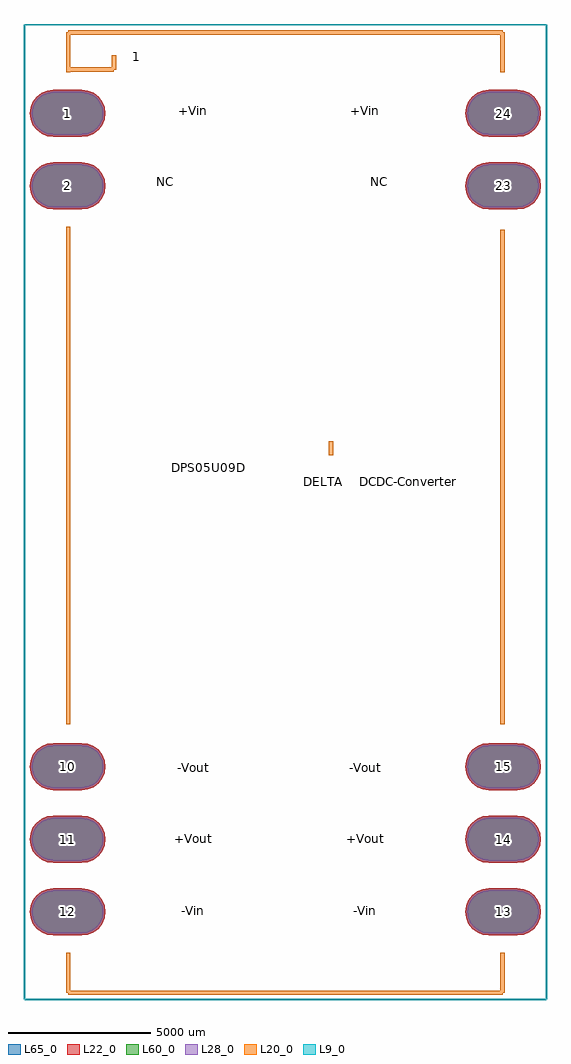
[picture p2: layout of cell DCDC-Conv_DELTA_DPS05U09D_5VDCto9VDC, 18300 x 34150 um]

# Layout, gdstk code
import gdstk
lib = gdstk.Library(unit=1e-6, precision=1e-09)
def P(c, l, *ps):  # polygons
    for p in ps: c.add(gdstk.Polygon(p, *l))
L9_0 = (9, 0)
L20_0 = (20, 0)
L22_0 = (22, 0)
L28_0 = (28, 0)
L60_0 = (60, 0)
L65_0 = (65, 0)

dcdc_conv_delta_dps05u09 = lib.new_cell('DCDC-Conv_DELTA_DPS05U09D_5VDCto9VDC')
P(dcdc_conv_delta_dps05u09, L22_0, [(14740.89,-825.57),(15739.11,-825.57),(15952.783,-797.439),(16151.895,-714.965),(16322.876,-583.766),(16454.075,-412.785),(16536.549,-213.673),(16564.68,0),(16536.549,213.673),(16454.075,412.785),(16322.876,583.766),(16151.895,714.965),(15952.783,797.439),(15739.11,825.57),(14740.89,825.57),(14527.217,797.439),(14328.105,714.965),(14157.124,583.766),(14025.925,412.785),(13943.451,213.673),(13915.32,0),(13943.451,-213.673),(14025.925,-412.785),(14157.124,-583.766),(14328.105,-714.965),(14527.217,-797.439)],
  [(14740.89,-3365.57),(15739.11,-3365.57),(15952.783,-3337.439),(16151.895,-3254.965),(16322.876,-3123.766),(16454.075,-2952.785),(16536.549,-2753.673),(16564.68,-2540),(16536.549,-2326.327),(16454.075,-2127.215),(16322.876,-1956.234),(16151.895,-1825.035),(15952.783,-1742.561),(15739.11,-1714.43),(14740.89,-1714.43),(14527.217,-1742.561),(14328.105,-1825.035),(14157.124,-1956.234),(14025.925,-2127.215),(13943.451,-2326.327),(13915.32,-2540),(13943.451,-2753.673),(14025.925,-2952.785),(14157.124,-3123.766),(14328.105,-3254.965),(14527.217,-3337.439)],
  [(14740.89,-23685.57),(15739.11,-23685.57),(15952.783,-23657.439),(16151.895,-23574.965),(16322.876,-23443.766),(16454.075,-23272.785),(16536.549,-23073.673),(16564.68,-22860),(16536.549,-22646.327),(16454.075,-22447.215),(16322.876,-22276.234),(16151.895,-22145.035),(15952.783,-22062.561),(15739.11,-22034.43),(14740.89,-22034.43),(14527.217,-22062.561),(14328.105,-22145.035),(14157.124,-22276.234),(14025.925,-22447.215),(13943.451,-22646.327),(13915.32,-22860),(13943.451,-23073.673),(14025.925,-23272.785),(14157.124,-23443.766),(14328.105,-23574.965),(14527.217,-23657.439)],
  [(14740.89,-26225.57),(15739.11,-26225.57),(15952.783,-26197.439),(16151.895,-26114.965),(16322.876,-25983.766),(16454.075,-25812.785),(16536.549,-25613.673),(16564.68,-25400),(16536.549,-25186.327),(16454.075,-24987.215),(16322.876,-24816.234),(16151.895,-24685.035),(15952.783,-24602.561),(15739.11,-24574.43),(14740.89,-24574.43),(14527.217,-24602.561),(14328.105,-24685.035),(14157.124,-24816.234),(14025.925,-24987.215),(13943.451,-25186.327),(13915.32,-25400),(13943.451,-25613.673),(14025.925,-25812.785),(14157.124,-25983.766),(14328.105,-26114.965),(14527.217,-26197.439)],
  [(14740.89,-28765.57),(15739.11,-28765.57),(15952.783,-28737.439),(16151.895,-28654.965),(16322.876,-28523.766),(16454.075,-28352.785),(16536.549,-28153.673),(16564.68,-27940),(16536.549,-27726.327),(16454.075,-27527.215),(16322.876,-27356.234),(16151.895,-27225.035),(15952.783,-27142.561),(15739.11,-27114.43),(14740.89,-27114.43),(14527.217,-27142.561),(14328.105,-27225.035),(14157.124,-27356.234),(14025.925,-27527.215),(13943.451,-27726.327),(13915.32,-27940),(13943.451,-28153.673),(14025.925,-28352.785),(14157.124,-28523.766),(14328.105,-28654.965),(14527.217,-28737.439)],
  [(-499.11,-28765.57),(499.11,-28765.57),(712.783,-28737.439),(911.895,-28654.965),(1082.876,-28523.766),(1214.075,-28352.785),(1296.549,-28153.673),(1324.68,-27940),(1296.549,-27726.327),(1214.075,-27527.215),(1082.876,-27356.234),(911.895,-27225.035),(712.783,-27142.561),(499.11,-27114.43),(-499.11,-27114.43),(-712.783,-27142.561),(-911.895,-27225.035),(-1082.876,-27356.234),(-1214.075,-27527.215),(-1296.549,-27726.327),(-1324.68,-27940),(-1296.549,-28153.673),(-1214.075,-28352.785),(-1082.876,-28523.766),(-911.895,-28654.965),(-712.783,-28737.439)],
  [(-499.11,-26225.57),(499.11,-26225.57),(712.783,-26197.439),(911.895,-26114.965),(1082.876,-25983.766),(1214.075,-25812.785),(1296.549,-25613.673),(1324.68,-25400),(1296.549,-25186.327),(1214.075,-24987.215),(1082.876,-24816.234),(911.895,-24685.035),(712.783,-24602.561),(499.11,-24574.43),(-499.11,-24574.43),(-712.783,-24602.561),(-911.895,-24685.035),(-1082.876,-24816.234),(-1214.075,-24987.215),(-1296.549,-25186.327),(-1324.68,-25400),(-1296.549,-25613.673),(-1214.075,-25812.785),(-1082.876,-25983.766),(-911.895,-26114.965),(-712.783,-26197.439)],
  [(-499.11,-23685.57),(499.11,-23685.57),(712.783,-23657.439),(911.895,-23574.965),(1082.876,-23443.766),(1214.075,-23272.785),(1296.549,-23073.673),(1324.68,-22860),(1296.549,-22646.327),(1214.075,-22447.215),(1082.876,-22276.234),(911.895,-22145.035),(712.783,-22062.561),(499.11,-22034.43),(-499.11,-22034.43),(-712.783,-22062.561),(-911.895,-22145.035),(-1082.876,-22276.234),(-1214.075,-22447.215),(-1296.549,-22646.327),(-1324.68,-22860),(-1296.549,-23073.673),(-1214.075,-23272.785),(-1082.876,-23443.766),(-911.895,-23574.965),(-712.783,-23657.439)],
  [(-499.11,-825.57),(499.11,-825.57),(712.783,-797.439),(911.895,-714.965),(1082.876,-583.766),(1214.075,-412.785),(1296.549,-213.673),(1324.68,0),(1296.549,213.673),(1214.075,412.785),(1082.876,583.766),(911.895,714.965),(712.783,797.439),(499.11,825.57),(-499.11,825.57),(-712.783,797.439),(-911.895,714.965),(-1082.876,583.766),(-1214.075,412.785),(-1296.549,213.673),(-1324.68,0),(-1296.549,-213.673),(-1214.075,-412.785),(-1082.876,-583.766),(-911.895,-714.965),(-712.783,-797.439)],
  [(-499.11,-3365.57),(499.11,-3365.57),(712.783,-3337.439),(911.895,-3254.965),(1082.876,-3123.766),(1214.075,-2952.785),(1296.549,-2753.673),(1324.68,-2540),(1296.549,-2326.327),(1214.075,-2127.215),(1082.876,-1956.234),(911.895,-1825.035),(712.783,-1742.561),(499.11,-1714.43),(-499.11,-1714.43),(-712.783,-1742.561),(-911.895,-1825.035),(-1082.876,-1956.234),(-1214.075,-2127.215),(-1296.549,-2326.327),(-1324.68,-2540),(-1296.549,-2753.673),(-1214.075,-2952.785),(-1082.876,-3123.766),(-911.895,-3254.965),(-712.783,-3337.439)])
P(dcdc_conv_delta_dps05u09, L28_0, [(14740.89,-750.57),(15739.11,-750.57),(15933.372,-724.995),(16114.395,-650.013),(16269.843,-530.733),(16389.123,-375.285),(16464.105,-194.262),(16489.68,0),(16464.105,194.262),(16389.123,375.285),(16269.843,530.733),(16114.395,650.013),(15933.372,724.995),(15739.11,750.57),(14740.89,750.57),(14546.628,724.995),(14365.605,650.013),(14210.157,530.733),(14090.877,375.285),(14015.895,194.262),(13990.32,0),(14015.895,-194.262),(14090.877,-375.285),(14210.157,-530.733),(14365.605,-650.013),(14546.628,-724.995)],
  [(14740.89,-3290.57),(15739.11,-3290.57),(15933.372,-3264.995),(16114.395,-3190.013),(16269.843,-3070.733),(16389.123,-2915.285),(16464.105,-2734.262),(16489.68,-2540),(16464.105,-2345.738),(16389.123,-2164.715),(16269.843,-2009.267),(16114.395,-1889.987),(15933.372,-1815.005),(15739.11,-1789.43),(14740.89,-1789.43),(14546.628,-1815.005),(14365.605,-1889.987),(14210.157,-2009.267),(14090.877,-2164.715),(14015.895,-2345.738),(13990.32,-2540),(14015.895,-2734.262),(14090.877,-2915.285),(14210.157,-3070.733),(14365.605,-3190.013),(14546.628,-3264.995)],
  [(14740.89,-23610.57),(15739.11,-23610.57),(15933.372,-23584.995),(16114.395,-23510.013),(16269.843,-23390.733),(16389.123,-23235.285),(16464.105,-23054.262),(16489.68,-22860),(16464.105,-22665.738),(16389.123,-22484.715),(16269.843,-22329.267),(16114.395,-22209.987),(15933.372,-22135.005),(15739.11,-22109.43),(14740.89,-22109.43),(14546.628,-22135.005),(14365.605,-22209.987),(14210.157,-22329.267),(14090.877,-22484.715),(14015.895,-22665.738),(13990.32,-22860),(14015.895,-23054.262),(14090.877,-23235.285),(14210.157,-23390.733),(14365.605,-23510.013),(14546.628,-23584.995)],
  [(14740.89,-26150.57),(15739.11,-26150.57),(15933.372,-26124.995),(16114.395,-26050.013),(16269.843,-25930.733),(16389.123,-25775.285),(16464.105,-25594.262),(16489.68,-25400),(16464.105,-25205.738),(16389.123,-25024.715),(16269.843,-24869.267),(16114.395,-24749.987),(15933.372,-24675.005),(15739.11,-24649.43),(14740.89,-24649.43),(14546.628,-24675.005),(14365.605,-24749.987),(14210.157,-24869.267),(14090.877,-25024.715),(14015.895,-25205.738),(13990.32,-25400),(14015.895,-25594.262),(14090.877,-25775.285),(14210.157,-25930.733),(14365.605,-26050.013),(14546.628,-26124.995)],
  [(14740.89,-28690.57),(15739.11,-28690.57),(15933.372,-28664.995),(16114.395,-28590.013),(16269.843,-28470.733),(16389.123,-28315.285),(16464.105,-28134.262),(16489.68,-27940),(16464.105,-27745.738),(16389.123,-27564.715),(16269.843,-27409.267),(16114.395,-27289.987),(15933.372,-27215.005),(15739.11,-27189.43),(14740.89,-27189.43),(14546.628,-27215.005),(14365.605,-27289.987),(14210.157,-27409.267),(14090.877,-27564.715),(14015.895,-27745.738),(13990.32,-27940),(14015.895,-28134.262),(14090.877,-28315.285),(14210.157,-28470.733),(14365.605,-28590.013),(14546.628,-28664.995)],
  [(-499.11,-28690.57),(499.11,-28690.57),(693.372,-28664.995),(874.395,-28590.013),(1029.843,-28470.733),(1149.123,-28315.285),(1224.105,-28134.262),(1249.68,-27940),(1224.105,-27745.738),(1149.123,-27564.715),(1029.843,-27409.267),(874.395,-27289.987),(693.372,-27215.005),(499.11,-27189.43),(-499.11,-27189.43),(-693.372,-27215.005),(-874.395,-27289.987),(-1029.843,-27409.267),(-1149.123,-27564.715),(-1224.105,-27745.738),(-1249.68,-27940),(-1224.105,-28134.262),(-1149.123,-28315.285),(-1029.843,-28470.733),(-874.395,-28590.013),(-693.372,-28664.995)],
  [(-499.11,-26150.57),(499.11,-26150.57),(693.372,-26124.995),(874.395,-26050.013),(1029.843,-25930.733),(1149.123,-25775.285),(1224.105,-25594.262),(1249.68,-25400),(1224.105,-25205.738),(1149.123,-25024.715),(1029.843,-24869.267),(874.395,-24749.987),(693.372,-24675.005),(499.11,-24649.43),(-499.11,-24649.43),(-693.372,-24675.005),(-874.395,-24749.987),(-1029.843,-24869.267),(-1149.123,-25024.715),(-1224.105,-25205.738),(-1249.68,-25400),(-1224.105,-25594.262),(-1149.123,-25775.285),(-1029.843,-25930.733),(-874.395,-26050.013),(-693.372,-26124.995)],
  [(-499.11,-23610.57),(499.11,-23610.57),(693.372,-23584.995),(874.395,-23510.013),(1029.843,-23390.733),(1149.123,-23235.285),(1224.105,-23054.262),(1249.68,-22860),(1224.105,-22665.738),(1149.123,-22484.715),(1029.843,-22329.267),(874.395,-22209.987),(693.372,-22135.005),(499.11,-22109.43),(-499.11,-22109.43),(-693.372,-22135.005),(-874.395,-22209.987),(-1029.843,-22329.267),(-1149.123,-22484.715),(-1224.105,-22665.738),(-1249.68,-22860),(-1224.105,-23054.262),(-1149.123,-23235.285),(-1029.843,-23390.733),(-874.395,-23510.013),(-693.372,-23584.995)],
  [(-499.11,-750.57),(499.11,-750.57),(693.372,-724.995),(874.395,-650.013),(1029.843,-530.733),(1149.123,-375.285),(1224.105,-194.262),(1249.68,0),(1224.105,194.262),(1149.123,375.285),(1029.843,530.733),(874.395,650.013),(693.372,724.995),(499.11,750.57),(-499.11,750.57),(-693.372,724.995),(-874.395,650.013),(-1029.843,530.733),(-1149.123,375.285),(-1224.105,194.262),(-1249.68,0),(-1224.105,-194.262),(-1149.123,-375.285),(-1029.843,-530.733),(-874.395,-650.013),(-693.372,-724.995)],
  [(-499.11,-3290.57),(499.11,-3290.57),(693.372,-3264.995),(874.395,-3190.013),(1029.843,-3070.733),(1149.123,-2915.285),(1224.105,-2734.262),(1249.68,-2540),(1224.105,-2345.738),(1149.123,-2164.715),(1029.843,-2009.267),(874.395,-1889.987),(693.372,-1815.005),(499.11,-1789.43),(-499.11,-1789.43),(-693.372,-1815.005),(-874.395,-1889.987),(-1029.843,-2009.267),(-1149.123,-2164.715),(-1224.105,-2345.738),(-1249.68,-2540),(-1224.105,-2734.262),(-1149.123,-2915.285),(-1029.843,-3070.733),(-874.395,-3190.013),(-693.372,-3264.995)])
P(dcdc_conv_delta_dps05u09, L60_0, [(14740.89,-750.57),(15739.11,-750.57),(15933.372,-724.995),(16114.395,-650.013),(16269.843,-530.733),(16389.123,-375.285),(16464.105,-194.262),(16489.68,0),(16464.105,194.262),(16389.123,375.285),(16269.843,530.733),(16114.395,650.013),(15933.372,724.995),(15739.11,750.57),(14740.89,750.57),(14546.628,724.995),(14365.605,650.013),(14210.157,530.733),(14090.877,375.285),(14015.895,194.262),(13990.32,0),(14015.895,-194.262),(14090.877,-375.285),(14210.157,-530.733),(14365.605,-650.013),(14546.628,-724.995)],
  [(14740.89,-3290.57),(15739.11,-3290.57),(15933.372,-3264.995),(16114.395,-3190.013),(16269.843,-3070.733),(16389.123,-2915.285),(16464.105,-2734.262),(16489.68,-2540),(16464.105,-2345.738),(16389.123,-2164.715),(16269.843,-2009.267),(16114.395,-1889.987),(15933.372,-1815.005),(15739.11,-1789.43),(14740.89,-1789.43),(14546.628,-1815.005),(14365.605,-1889.987),(14210.157,-2009.267),(14090.877,-2164.715),(14015.895,-2345.738),(13990.32,-2540),(14015.895,-2734.262),(14090.877,-2915.285),(14210.157,-3070.733),(14365.605,-3190.013),(14546.628,-3264.995)],
  [(14740.89,-23610.57),(15739.11,-23610.57),(15933.372,-23584.995),(16114.395,-23510.013),(16269.843,-23390.733),(16389.123,-23235.285),(16464.105,-23054.262),(16489.68,-22860),(16464.105,-22665.738),(16389.123,-22484.715),(16269.843,-22329.267),(16114.395,-22209.987),(15933.372,-22135.005),(15739.11,-22109.43),(14740.89,-22109.43),(14546.628,-22135.005),(14365.605,-22209.987),(14210.157,-22329.267),(14090.877,-22484.715),(14015.895,-22665.738),(13990.32,-22860),(14015.895,-23054.262),(14090.877,-23235.285),(14210.157,-23390.733),(14365.605,-23510.013),(14546.628,-23584.995)],
  [(14740.89,-26150.57),(15739.11,-26150.57),(15933.372,-26124.995),(16114.395,-26050.013),(16269.843,-25930.733),(16389.123,-25775.285),(16464.105,-25594.262),(16489.68,-25400),(16464.105,-25205.738),(16389.123,-25024.715),(16269.843,-24869.267),(16114.395,-24749.987),(15933.372,-24675.005),(15739.11,-24649.43),(14740.89,-24649.43),(14546.628,-24675.005),(14365.605,-24749.987),(14210.157,-24869.267),(14090.877,-25024.715),(14015.895,-25205.738),(13990.32,-25400),(14015.895,-25594.262),(14090.877,-25775.285),(14210.157,-25930.733),(14365.605,-26050.013),(14546.628,-26124.995)],
  [(14740.89,-28690.57),(15739.11,-28690.57),(15933.372,-28664.995),(16114.395,-28590.013),(16269.843,-28470.733),(16389.123,-28315.285),(16464.105,-28134.262),(16489.68,-27940),(16464.105,-27745.738),(16389.123,-27564.715),(16269.843,-27409.267),(16114.395,-27289.987),(15933.372,-27215.005),(15739.11,-27189.43),(14740.89,-27189.43),(14546.628,-27215.005),(14365.605,-27289.987),(14210.157,-27409.267),(14090.877,-27564.715),(14015.895,-27745.738),(13990.32,-27940),(14015.895,-28134.262),(14090.877,-28315.285),(14210.157,-28470.733),(14365.605,-28590.013),(14546.628,-28664.995)],
  [(-499.11,-28690.57),(499.11,-28690.57),(693.372,-28664.995),(874.395,-28590.013),(1029.843,-28470.733),(1149.123,-28315.285),(1224.105,-28134.262),(1249.68,-27940),(1224.105,-27745.738),(1149.123,-27564.715),(1029.843,-27409.267),(874.395,-27289.987),(693.372,-27215.005),(499.11,-27189.43),(-499.11,-27189.43),(-693.372,-27215.005),(-874.395,-27289.987),(-1029.843,-27409.267),(-1149.123,-27564.715),(-1224.105,-27745.738),(-1249.68,-27940),(-1224.105,-28134.262),(-1149.123,-28315.285),(-1029.843,-28470.733),(-874.395,-28590.013),(-693.372,-28664.995)],
  [(-499.11,-26150.57),(499.11,-26150.57),(693.372,-26124.995),(874.395,-26050.013),(1029.843,-25930.733),(1149.123,-25775.285),(1224.105,-25594.262),(1249.68,-25400),(1224.105,-25205.738),(1149.123,-25024.715),(1029.843,-24869.267),(874.395,-24749.987),(693.372,-24675.005),(499.11,-24649.43),(-499.11,-24649.43),(-693.372,-24675.005),(-874.395,-24749.987),(-1029.843,-24869.267),(-1149.123,-25024.715),(-1224.105,-25205.738),(-1249.68,-25400),(-1224.105,-25594.262),(-1149.123,-25775.285),(-1029.843,-25930.733),(-874.395,-26050.013),(-693.372,-26124.995)],
  [(-499.11,-23610.57),(499.11,-23610.57),(693.372,-23584.995),(874.395,-23510.013),(1029.843,-23390.733),(1149.123,-23235.285),(1224.105,-23054.262),(1249.68,-22860),(1224.105,-22665.738),(1149.123,-22484.715),(1029.843,-22329.267),(874.395,-22209.987),(693.372,-22135.005),(499.11,-22109.43),(-499.11,-22109.43),(-693.372,-22135.005),(-874.395,-22209.987),(-1029.843,-22329.267),(-1149.123,-22484.715),(-1224.105,-22665.738),(-1249.68,-22860),(-1224.105,-23054.262),(-1149.123,-23235.285),(-1029.843,-23390.733),(-874.395,-23510.013),(-693.372,-23584.995)],
  [(-499.11,-750.57),(499.11,-750.57),(693.372,-724.995),(874.395,-650.013),(1029.843,-530.733),(1149.123,-375.285),(1224.105,-194.262),(1249.68,0),(1224.105,194.262),(1149.123,375.285),(1029.843,530.733),(874.395,650.013),(693.372,724.995),(499.11,750.57),(-499.11,750.57),(-693.372,724.995),(-874.395,650.013),(-1029.843,530.733),(-1149.123,375.285),(-1224.105,194.262),(-1249.68,0),(-1224.105,-194.262),(-1149.123,-375.285),(-1029.843,-530.733),(-874.395,-650.013),(-693.372,-724.995)],
  [(-499.11,-3290.57),(499.11,-3290.57),(693.372,-3264.995),(874.395,-3190.013),(1029.843,-3070.733),(1149.123,-2915.285),(1224.105,-2734.262),(1249.68,-2540),(1224.105,-2345.738),(1149.123,-2164.715),(1029.843,-2009.267),(874.395,-1889.987),(693.372,-1815.005),(499.11,-1789.43),(-499.11,-1789.43),(-693.372,-1815.005),(-874.395,-1889.987),(-1029.843,-2009.267),(-1149.123,-2164.715),(-1224.105,-2345.738),(-1249.68,-2540),(-1224.105,-2734.262),(-1149.123,-2915.285),(-1029.843,-3070.733),(-874.395,-3190.013),(-693.372,-3264.995)])
P(dcdc_conv_delta_dps05u09, L65_0, [(14740.89,-825.57),(15739.11,-825.57),(15952.783,-797.439),(16151.895,-714.965),(16322.876,-583.766),(16454.075,-412.785),(16536.549,-213.673),(16564.68,0),(16536.549,213.673),(16454.075,412.785),(16322.876,583.766),(16151.895,714.965),(15952.783,797.439),(15739.11,825.57),(14740.89,825.57),(14527.217,797.439),(14328.105,714.965),(14157.124,583.766),(14025.925,412.785),(13943.451,213.673),(13915.32,0),(13943.451,-213.673),(14025.925,-412.785),(14157.124,-583.766),(14328.105,-714.965),(14527.217,-797.439)],
  [(14740.89,-3365.57),(15739.11,-3365.57),(15952.783,-3337.439),(16151.895,-3254.965),(16322.876,-3123.766),(16454.075,-2952.785),(16536.549,-2753.673),(16564.68,-2540),(16536.549,-2326.327),(16454.075,-2127.215),(16322.876,-1956.234),(16151.895,-1825.035),(15952.783,-1742.561),(15739.11,-1714.43),(14740.89,-1714.43),(14527.217,-1742.561),(14328.105,-1825.035),(14157.124,-1956.234),(14025.925,-2127.215),(13943.451,-2326.327),(13915.32,-2540),(13943.451,-2753.673),(14025.925,-2952.785),(14157.124,-3123.766),(14328.105,-3254.965),(14527.217,-3337.439)],
  [(14740.89,-23685.57),(15739.11,-23685.57),(15952.783,-23657.439),(16151.895,-23574.965),(16322.876,-23443.766),(16454.075,-23272.785),(16536.549,-23073.673),(16564.68,-22860),(16536.549,-22646.327),(16454.075,-22447.215),(16322.876,-22276.234),(16151.895,-22145.035),(15952.783,-22062.561),(15739.11,-22034.43),(14740.89,-22034.43),(14527.217,-22062.561),(14328.105,-22145.035),(14157.124,-22276.234),(14025.925,-22447.215),(13943.451,-22646.327),(13915.32,-22860),(13943.451,-23073.673),(14025.925,-23272.785),(14157.124,-23443.766),(14328.105,-23574.965),(14527.217,-23657.439)],
  [(14740.89,-26225.57),(15739.11,-26225.57),(15952.783,-26197.439),(16151.895,-26114.965),(16322.876,-25983.766),(16454.075,-25812.785),(16536.549,-25613.673),(16564.68,-25400),(16536.549,-25186.327),(16454.075,-24987.215),(16322.876,-24816.234),(16151.895,-24685.035),(15952.783,-24602.561),(15739.11,-24574.43),(14740.89,-24574.43),(14527.217,-24602.561),(14328.105,-24685.035),(14157.124,-24816.234),(14025.925,-24987.215),(13943.451,-25186.327),(13915.32,-25400),(13943.451,-25613.673),(14025.925,-25812.785),(14157.124,-25983.766),(14328.105,-26114.965),(14527.217,-26197.439)],
  [(14740.89,-28765.57),(15739.11,-28765.57),(15952.783,-28737.439),(16151.895,-28654.965),(16322.876,-28523.766),(16454.075,-28352.785),(16536.549,-28153.673),(16564.68,-27940),(16536.549,-27726.327),(16454.075,-27527.215),(16322.876,-27356.234),(16151.895,-27225.035),(15952.783,-27142.561),(15739.11,-27114.43),(14740.89,-27114.43),(14527.217,-27142.561),(14328.105,-27225.035),(14157.124,-27356.234),(14025.925,-27527.215),(13943.451,-27726.327),(13915.32,-27940),(13943.451,-28153.673),(14025.925,-28352.785),(14157.124,-28523.766),(14328.105,-28654.965),(14527.217,-28737.439)],
  [(-499.11,-28765.57),(499.11,-28765.57),(712.783,-28737.439),(911.895,-28654.965),(1082.876,-28523.766),(1214.075,-28352.785),(1296.549,-28153.673),(1324.68,-27940),(1296.549,-27726.327),(1214.075,-27527.215),(1082.876,-27356.234),(911.895,-27225.035),(712.783,-27142.561),(499.11,-27114.43),(-499.11,-27114.43),(-712.783,-27142.561),(-911.895,-27225.035),(-1082.876,-27356.234),(-1214.075,-27527.215),(-1296.549,-27726.327),(-1324.68,-27940),(-1296.549,-28153.673),(-1214.075,-28352.785),(-1082.876,-28523.766),(-911.895,-28654.965),(-712.783,-28737.439)],
  [(-499.11,-26225.57),(499.11,-26225.57),(712.783,-26197.439),(911.895,-26114.965),(1082.876,-25983.766),(1214.075,-25812.785),(1296.549,-25613.673),(1324.68,-25400),(1296.549,-25186.327),(1214.075,-24987.215),(1082.876,-24816.234),(911.895,-24685.035),(712.783,-24602.561),(499.11,-24574.43),(-499.11,-24574.43),(-712.783,-24602.561),(-911.895,-24685.035),(-1082.876,-24816.234),(-1214.075,-24987.215),(-1296.549,-25186.327),(-1324.68,-25400),(-1296.549,-25613.673),(-1214.075,-25812.785),(-1082.876,-25983.766),(-911.895,-26114.965),(-712.783,-26197.439)],
  [(-499.11,-23685.57),(499.11,-23685.57),(712.783,-23657.439),(911.895,-23574.965),(1082.876,-23443.766),(1214.075,-23272.785),(1296.549,-23073.673),(1324.68,-22860),(1296.549,-22646.327),(1214.075,-22447.215),(1082.876,-22276.234),(911.895,-22145.035),(712.783,-22062.561),(499.11,-22034.43),(-499.11,-22034.43),(-712.783,-22062.561),(-911.895,-22145.035),(-1082.876,-22276.234),(-1214.075,-22447.215),(-1296.549,-22646.327),(-1324.68,-22860),(-1296.549,-23073.673),(-1214.075,-23272.785),(-1082.876,-23443.766),(-911.895,-23574.965),(-712.783,-23657.439)],
  [(-499.11,-825.57),(499.11,-825.57),(712.783,-797.439),(911.895,-714.965),(1082.876,-583.766),(1214.075,-412.785),(1296.549,-213.673),(1324.68,0),(1296.549,213.673),(1214.075,412.785),(1082.876,583.766),(911.895,714.965),(712.783,797.439),(499.11,825.57),(-499.11,825.57),(-712.783,797.439),(-911.895,714.965),(-1082.876,583.766),(-1214.075,412.785),(-1296.549,213.673),(-1324.68,0),(-1296.549,-213.673),(-1214.075,-412.785),(-1082.876,-583.766),(-911.895,-714.965),(-712.783,-797.439)],
  [(-499.11,-3365.57),(499.11,-3365.57),(712.783,-3337.439),(911.895,-3254.965),(1082.876,-3123.766),(1214.075,-2952.785),(1296.549,-2753.673),(1324.68,-2540),(1296.549,-2326.327),(1214.075,-2127.215),(1082.876,-1956.234),(911.895,-1825.035),(712.783,-1742.561),(499.11,-1714.43),(-499.11,-1714.43),(-712.783,-1742.561),(-911.895,-1825.035),(-1082.876,-1956.234),(-1214.075,-2127.215),(-1296.549,-2326.327),(-1324.68,-2540),(-1296.549,-2753.673),(-1214.075,-2952.785),(-1082.876,-3123.766),(-911.895,-3254.965),(-712.783,-3337.439)])
dcdc_conv_delta_dps05u09.add(gdstk.FlexPath([(20.32,-30769.6),(15219.7,-30769.6)], 149.998, ends="flush", simple_path=True, layer=20, datatype=0))  # L20_0
dcdc_conv_delta_dps05u09.add(gdstk.FlexPath([(15219.7,2829.6),(20.32,2829.6)], 149.998, ends="flush", simple_path=True, layer=20, datatype=0))  # L20_0
dcdc_conv_delta_dps05u09.add(gdstk.FlexPath([(15219.7,2829.6),(15219.7,1430)], 149.998, ends="flush", simple_path=True, layer=20, datatype=0))  # L20_0
dcdc_conv_delta_dps05u09.add(gdstk.FlexPath([(15219.7,-4069.08),(15219.7,-21369)], 149.998, ends="flush", simple_path=True, layer=20, datatype=0))  # L20_0
dcdc_conv_delta_dps05u09.add(gdstk.FlexPath([(15219.7,-29370),(15219.7,-30769.6)], 149.998, ends="flush", simple_path=True, layer=20, datatype=0))  # L20_0
dcdc_conv_delta_dps05u09.add(gdstk.FlexPath([(20.32,-30769.6),(20.32,-29370)], 149.998, ends="flush", simple_path=True, layer=20, datatype=0))  # L20_0
dcdc_conv_delta_dps05u09.add(gdstk.FlexPath([(20.32,-21369),(20.32,-3970.02)], 149.998, ends="flush", simple_path=True, layer=20, datatype=0))  # L20_0
dcdc_conv_delta_dps05u09.add(gdstk.FlexPath([(20.32,1430),(20.32,2829.6)], 149.998, ends="flush", simple_path=True, layer=20, datatype=0))  # L20_0
dcdc_conv_delta_dps05u09.add(gdstk.FlexPath([(1620.52,1529.1),(119.38,1529.1)], 149.998, ends="flush", simple_path=True, layer=20, datatype=0))  # L20_0
dcdc_conv_delta_dps05u09.add(gdstk.FlexPath([(1620.52,2029.5),(1620.52,1529.1)], 149.998, ends="flush", simple_path=True, layer=20, datatype=0))  # L20_0
dcdc_conv_delta_dps05u09.add(gdstk.FlexPath([(9220.52,-11470.2),(9220.52,-11970.5)], 149.998, ends="flush", simple_path=True, layer=20, datatype=0))  # L20_0
dcdc_conv_delta_dps05u09.add(gdstk.FlexPath([(-1500,-31000),(16750,-31000)], 50, ends="flush", simple_path=True, layer=9, datatype=0))  # L9_0
dcdc_conv_delta_dps05u09.add(gdstk.FlexPath([(-1500,3100),(16750,3100)], 50, ends="flush", simple_path=True, layer=9, datatype=0))  # L9_0
dcdc_conv_delta_dps05u09.add(gdstk.FlexPath([(16750,3100),(16750,-31000)], 50, ends="flush", simple_path=True, layer=9, datatype=0))  # L9_0
dcdc_conv_delta_dps05u09.add(gdstk.FlexPath([(-1500,3100),(-1500,-31000)], 50, ends="flush", simple_path=True, layer=9, datatype=0))  # L9_0
dcdc_conv_delta_dps05u09.add(gdstk.Label('24', (15240,0), layer=28, texttype=0))
dcdc_conv_delta_dps05u09.add(gdstk.Label('23', (15240,-2540), layer=28, texttype=0))
dcdc_conv_delta_dps05u09.add(gdstk.Label('15', (15240,-22860), layer=28, texttype=0))
dcdc_conv_delta_dps05u09.add(gdstk.Label('14', (15240,-25400), layer=28, texttype=0))
dcdc_conv_delta_dps05u09.add(gdstk.Label('13', (15240,-27940), layer=28, texttype=0))
dcdc_conv_delta_dps05u09.add(gdstk.Label('12', (0,-27940), layer=28, texttype=0))
dcdc_conv_delta_dps05u09.add(gdstk.Label('11', (0,-25400), layer=28, texttype=0))
dcdc_conv_delta_dps05u09.add(gdstk.Label('10', (0,-22860), layer=28, texttype=0))
dcdc_conv_delta_dps05u09.add(gdstk.Label('1', (0,0), layer=28, texttype=0))
dcdc_conv_delta_dps05u09.add(gdstk.Label('2', (0,-2540), layer=28, texttype=0))
dcdc_conv_delta_dps05u09.add(gdstk.Label('+Vin', (4421.051,114.529), layer=9, texttype=0))
dcdc_conv_delta_dps05u09.add(gdstk.Label('+Vin', (10420.531,114.529), layer=9, texttype=0))
dcdc_conv_delta_dps05u09.add(gdstk.Label('-Vin', (4421.051,-27886.431), layer=9, texttype=0))
dcdc_conv_delta_dps05u09.add(gdstk.Label('-Vin', (10420.531,-27886.431), layer=9, texttype=0))
dcdc_conv_delta_dps05u09.add(gdstk.Label('+Vout', (4421.051,-25387.071), layer=9, texttype=0))
dcdc_conv_delta_dps05u09.add(gdstk.Label('+Vout', (10420.531,-25387.071), layer=9, texttype=0))
dcdc_conv_delta_dps05u09.add(gdstk.Label('-Vout', (4421.051,-22885.171), layer=9, texttype=0))
dcdc_conv_delta_dps05u09.add(gdstk.Label('-Vout', (10420.531,-22885.171), layer=9, texttype=0))
dcdc_conv_delta_dps05u09.add(gdstk.Label('1', (2400,2000), layer=9, texttype=0))
dcdc_conv_delta_dps05u09.add(gdstk.Label('DCDC-Converter', (11921.671,-12885.191), layer=9, texttype=0))
dcdc_conv_delta_dps05u09.add(gdstk.Label('DELTA', (8921.931,-12885.191), layer=9, texttype=0))
dcdc_conv_delta_dps05u09.add(gdstk.Label('DPS05U09D', (4921.431,-12384.811), layer=9, texttype=0))
dcdc_conv_delta_dps05u09.add(gdstk.Label('NC', (3420.291,-2384.831), layer=9, texttype=0))
dcdc_conv_delta_dps05u09.add(gdstk.Label('NC', (10920.911,-2384.831), layer=9, texttype=0))
dcdc_conv_delta_dps05u09.add(gdstk.Label('type', (0,4650), layer=9, texttype=0))
dcdc_conv_delta_dps05u09.add(gdstk.Label('devicename', (0,6650), layer=9, texttype=0))

lib.write_gds('DCDC-Conv_DELTA_DPS05U09D_5VDCto9VDC.gds')
